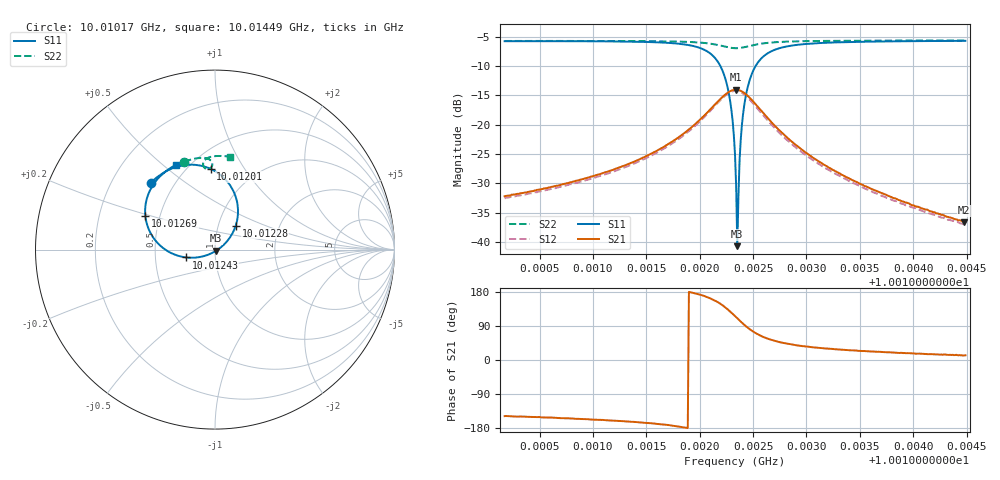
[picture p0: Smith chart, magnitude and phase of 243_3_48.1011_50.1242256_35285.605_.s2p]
#  HZ  S  RI  R  50.00
! Rohde & Schwarz Vector Network Analyzer
! Rohde-Schwarz,ZNB20-2Port,1311601062101988,3.16
! Created: UTC 12/23/2023, 3:59:00 AM
! freq[Hz]  re:S11  im:S11  re:S21  im:S21  re:S12  im:S12  re:S22  im:S22
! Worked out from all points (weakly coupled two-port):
!   401 points, 10.01017 GHz to 10.01449 GHz, reference 50 ohm
!   highest |S21| = -14.02 dB at 10.01234 GHz (marker M1); lowest = -36.6 dB at 10.01448 GHz (marker M2)
!   lowest |S11| = -40.7 dB at 10.01235 GHz (marker M3), VSWR 1.02, Z = 50.7 - j0.609 ohm
!   |S11| at or under -10 dB: 10.01219 GHz to 10.01252 GHz (328.8 kHz wide, 0.00328 % of centre)
!   |S22| runs from -6.9 to -5.6 dB; largest |S21 - S12| = 0.0095
!   S11 on the Smith chart (normalised r, x): 10.01017 GHz: 0.37, +0.38; 10.01201 GHz: 0.64, +0.72; 10.01228 GHz: 1.21, +0.34; 10.01243 GHz: 0.72, -0.06; 10.01269 GHz: 0.42, +0.19; 10.01449 GHz: 0.43, +0.55
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1.0010172e10  -0.3567 0.3737  -0.0208 -0.0129  -0.0193 -0.0135  -0.1715 0.4898
1.0010895e10  -0.3006 0.4195  -0.0312 -0.014  -0.0292 -0.0151  -0.1242 0.5042
1.0011618e10  -0.1913 0.467  -0.0604 -0.0115  -0.0573 -0.0144  -0.0697 0.5117
1.0012007e10  -0.0248 0.4499  -0.1104 0.0151  -0.1077 0.00879  -0.0304 0.5015
1.0012179e10  0.1068 0.3166  -0.1408 0.0784  -0.141 0.0702  -0.0151 0.4774
1.0012233e10  0.128 0.2242  -0.1375 0.1148  -0.1402 0.1058  -0.0164 0.4654
1.0012277e10  0.116 0.1342  -0.123 0.1467  -0.1266 0.1384  -0.0224 0.4558
1.0012309e10  0.0829 0.0669  -0.1037 0.1677  -0.1081 0.1602  -0.0297 0.4507
1.001232e10  0.0667 0.0458  -0.0958 0.1737  -0.1002 0.1661  -0.0326 0.4495
1.0012331e10  0.0489 0.0268  -0.0876 0.1788  -0.0917 0.1716  -0.0356 0.4487
1.0012341e10  0.0285 0.00913  -0.0779 0.1832  -0.0825 0.1761  -0.0388 0.4483
1.0012352e10  0.00698 -0.006  -0.0685 0.1866  -0.073 0.1799  -0.0418 0.4483
1.0012374e10  -0.0408 -0.0296  -0.048 0.1905  -0.0531 0.1841  -0.0478 0.4493
1.0012395e10  -0.0902 -0.0424  -0.028 0.1906  -0.0333 0.1843  -0.0535 0.4518
1.0012428e10  -0.1625 -0.0436  -0.000698 0.1838  -0.00708 0.178  -0.0601 0.4575
1.0012471e10  -0.2451 -0.0189  0.0272 0.1668  0.0212 0.1616  -0.0651 0.4671
1.0012525e10  -0.3169 0.0338  0.0488 0.1411  0.0425 0.137  -0.0663 0.4786
1.0012687e10  -0.3878 0.186  0.0628 0.0802  0.0572 0.0785  -0.054 0.5017
1.0013054e10  -0.3561 0.342  0.0441 0.0294  0.0405 0.03  -0.0189 0.5178
1.0013777e10  -0.2772 0.4335  0.0231 0.00853  0.0215 0.0093  0.0365 0.5214
1.0014478e10  -0.2187 0.472  0.0144 0.0031  0.0135 0.00379  0.0842 0.5171
1.0014489e10  -0.2178 0.4724  0.0144 0.00315  0.0135 0.00372  0.0848 0.5172
